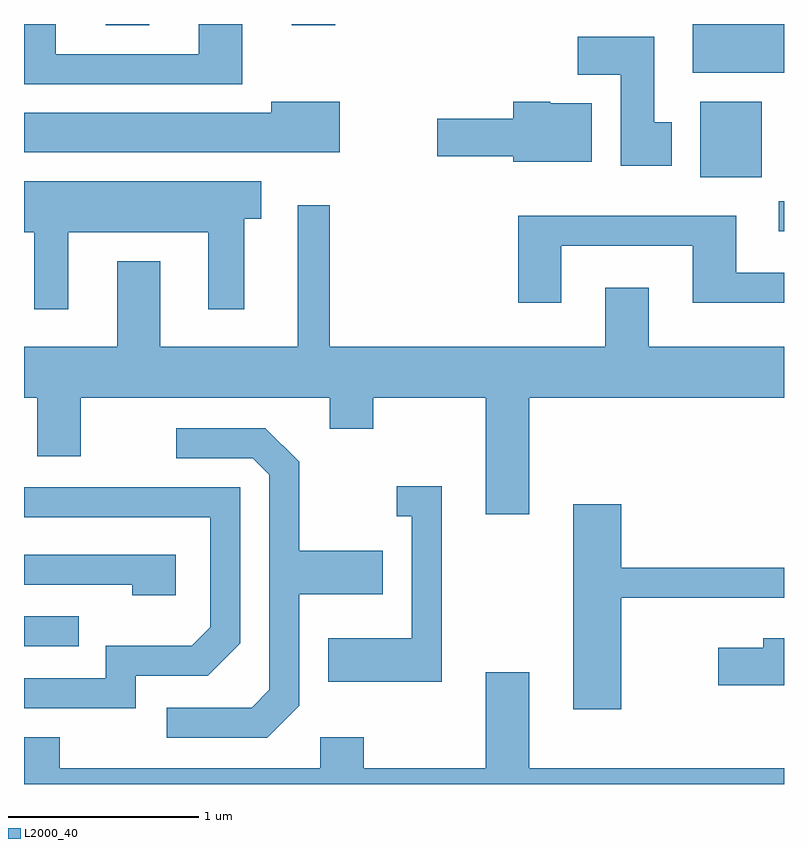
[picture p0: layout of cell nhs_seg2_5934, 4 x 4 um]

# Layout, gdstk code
import gdstk
lib = gdstk.Library(unit=1e-6, precision=1e-09)
def R(c, l, rs):  # rectangles x0, y0, x1, y1
    for r in rs: c.add(gdstk.rectangle(r[:2], r[2:], *l))
def P(c, l, *ps):  # polygons
    for p in ps: c.add(gdstk.Polygon(p, *l))
L2000_40 = (2000, 40)

nhs_seg2_5934 = lib.new_cell('nhs_seg2_5934')
R(nhs_seg2_5934, L2000_40, [(359.611,1082.526,359.898,1082.684), (363.583,1084.711,363.611,1084.869), (363.171,1084.996,363.494,1085.394), (363.131,1085.546,363.611,1085.802), (360.041,1085.796,360.269,1085.802), (361.021,1085.796,361.249,1085.802)])
P(nhs_seg2_5934, L2000_40, [(360.759,1085.802),(360.531,1085.802),(360.531,1085.644),(359.779,1085.644),(359.779,1085.802),(359.611,1085.802),(359.611,1085.486),(360.759,1085.486)],
  [(363.019,1085.284),(362.929,1085.284),(362.929,1085.734),(362.526,1085.734),(362.526,1085.536),(362.751,1085.536),(362.751,1085.056),(363.019,1085.056)],
  [(361.274,1085.394),(360.911,1085.394),(360.911,1085.334),(359.611,1085.334),(359.611,1085.126),(361.274,1085.126)],
  [(362.599,1085.384),(362.38,1085.384),(362.38,1085.394),(362.186,1085.394),(362.186,1085.304),(361.786,1085.304),(361.786,1085.106),(362.186,1085.106),(362.186,1085.076),(362.599,1085.076)],
  [(359.844,1084.706),(360.581,1084.706),(360.581,1084.301),(360.769,1084.301),(360.769,1084.776),(360.859,1084.776),(360.859,1084.974),(359.611,1084.974),(359.611,1084.706),(359.666,1084.706),(359.666,1084.301),(359.844,1084.301)],
  [(362.269,1083.836),(363.611,1083.836),(363.611,1084.104),(362.899,1084.104),(362.899,1084.414),(362.671,1084.414),(362.671,1084.104),(361.219,1084.104),(361.219,1084.848),(361.051,1084.848),(361.051,1084.104),(360.329,1084.104),(360.329,1084.554),(360.101,1084.554),(360.101,1084.104),(359.611,1084.104),(359.611,1083.836),(359.681,1083.836),(359.681,1083.526),(359.909,1083.526),(359.909,1083.836),(361.221,1083.836),(361.221,1083.671),(361.449,1083.671),(361.449,1083.836),(362.041,1083.836),(362.041,1083.221),(362.269,1083.221)],
  [(362.439,1084.636),(363.131,1084.636),(363.131,1084.336),(363.611,1084.336),(363.611,1084.494),(363.359,1084.494),(363.359,1084.794),(362.211,1084.794),(362.211,1084.336),(362.439,1084.336)],
  [(361.059,1082.214),(361.059,1082.801),(361.499,1082.801),(361.499,1083.029),(361.059,1083.029),(361.059,1083.497),(360.882,1083.674),(360.413,1083.674),(360.413,1083.516),(360.814,1083.516),(360.901,1083.429),(360.901,1082.297),(360.809,1082.204),(360.363,1082.204),(360.363,1082.046),(360.892,1082.046)],
  [(361.809,1083.369),(361.573,1083.369),(361.573,1083.211),(361.651,1083.211),(361.651,1082.569),(361.211,1082.569),(361.211,1082.341),(361.809,1082.341)],
  [(360.199,1082.371),(360.577,1082.371),(360.749,1082.544),(360.749,1083.364),(359.611,1083.364),(359.611,1083.206),(360.591,1083.206),(360.591,1082.627),(360.494,1082.529),(360.041,1082.529),(360.041,1082.359),(359.611,1082.359),(359.611,1082.201),(360.199,1082.201)],
  [(362.754,1082.781),(363.611,1082.781),(363.611,1082.939),(362.754,1082.939),(362.754,1083.274),(362.501,1083.274),(362.501,1082.196),(362.754,1082.196)],
  [(360.409,1083.009),(359.611,1083.009),(359.611,1082.851),(360.181,1082.851),(360.181,1082.796),(360.409,1082.796)],
  [(363.611,1082.569),(363.501,1082.569),(363.501,1082.519),(363.266,1082.519),(363.266,1082.321),(363.611,1082.321)],
  [(363.611,1081.884),(362.269,1081.884),(362.269,1082.389),(362.041,1082.389),(362.041,1081.884),(361.399,1081.884),(361.399,1082.049),(361.171,1082.049),(361.171,1081.884),(359.799,1081.884),(359.799,1082.049),(359.611,1082.049),(359.611,1081.802),(363.611,1081.802)])

lib.write_gds('nhs_seg2_5934.gds')
